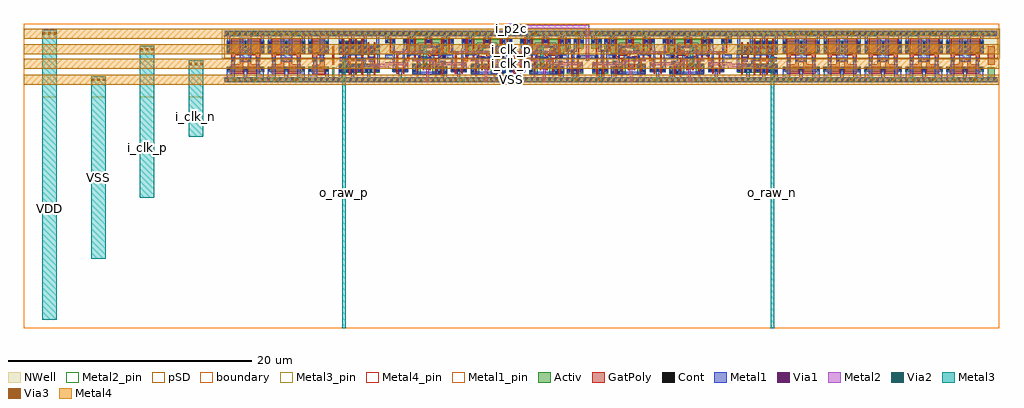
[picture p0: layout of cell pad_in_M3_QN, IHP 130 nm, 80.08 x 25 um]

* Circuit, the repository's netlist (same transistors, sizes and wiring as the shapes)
* pad_in_g5i2.sp -- reference LVS (et netlist de cellules pour le .lib) de la macro en cellules g5i2
* (run/g5i2/pad_in.gds, pad_in_g5i2.py), ecrite a la main. Livree en IP/1_PAD_IN/signoff/pad_in_lvs.sp.
* Le r_f dans la prise p : in, M(CLK_N), S(CLK_P), F(CLK_N), out ; prise n : in, M(CLK_P), S(CLK_N), out. 10 decap_8 (80 um).
* La cellule out (tlatch_g5i2_out) n'a pas de transistor : pure terminaison, absente de la reference.
* Sous-circuits : sg13cmos5l_decap_8 (PDK), srlatch_g5i2_abut et srlatch_g5i2_in (nemisys_5l/sg13_extracells/cell/*/char, commit e87b139).
* Dans abut (X8) et in (X2), une source PMOS est alimentee par la cellule voisine : reliee a VDD ici.

.subckt sg13cmos5l_decap_8 VDD VSS
MN0 VSS VDD VSS VSS sg13_lv_nmos w=840.00n l=1.000u ng=2 ad=1.596e-13 as=2.856e-13 pd=1.6e-06 ps=3.04e-06 m=1
MP0 VDD VSS VDD VDD sg13_lv_pmos w=2.000u l=1.000u ng=2 ad=3.8e-13 as=6.8e-13 pd=2.76e-06 ps=5.36e-06 m=1
.ends

.subckt srlatch_g5i2_abut LATCH DP DN QP QN VDD VSS
M0 a_94_436# DP VDD VDD sg13_lv_pmos ad=0.15015p pd=1.285u as=0.64332p ps=4.52u w=1.12u l=0.13u
M1 VDD DN a_370_600# VDD sg13_lv_pmos ad=0.64332p pd=4.52u as=0.15215p ps=1.3u w=1.14u l=0.13u
M2 VSS QPI QNI VSS sg13_lv_nmos ad=57f pd=0.68u as=0.12025p ps=1.23u w=0.3u l=0.13u
M3 QPI QNI VSS VSS sg13_lv_nmos ad=0.12025p pd=1.23u as=57f ps=0.68u w=0.3u l=0.13u
M4 VDD LATCH a_94_436# VDD sg13_lv_pmos ad=0.51465p pd=3.615u as=0.15015p ps=1.285u w=0.3u l=0.13u
M5 a_370_600# QNI QPI VDD sg13_lv_pmos ad=0.15215p pd=1.3u as=0.1731p ps=1.86u w=0.59u l=0.13u
M6 QN QPI VDD VDD sg13_lv_pmos ad=0.102p pd=1.28u as=0.64332p ps=4.52u w=0.3u l=0.13u
M7 a_370_600# LATCH VDD VDD sg13_lv_pmos ad=0.15215p pd=1.3u as=0.51465p ps=3.615u w=0.3u l=0.13u
M8 VDD QNI QP VDD sg13_lv_pmos ad=68.99999f pd=1.06u as=0.102p ps=1.28u w=0.3u l=0.13u
M9 QNI DP a_94_96# VSS sg13_lv_nmos ad=0.12025p pd=1.23u as=0.14995p ps=1.23u w=0.85u l=0.13u
M10 a_94_96# DN QPI VSS sg13_lv_nmos ad=0.289p pd=2.38u as=0.12025p ps=1.23u w=0.85u l=0.13u
M11 QNI QPI a_94_436# VDD sg13_lv_pmos ad=0.1663p pd=1.82u as=0.15015p ps=1.285u w=0.57u l=0.13u
M12 a_94_96# LATCH VSS VSS sg13_lv_nmos ad=0.14995p pd=1.23u as=0.2176p ps=1.96u w=0.64u l=0.13u
M13 VSS QPI QN VSS sg13_lv_nmos ad=57f pd=0.68u as=0.102p ps=1.28u w=0.3u l=0.13u
M14 QP QNI VSS VSS sg13_lv_nmos ad=0.102p pd=1.28u as=57f ps=0.68u w=0.3u l=0.13u
.ends

.subckt srlatch_g5i2_in VSS VDD A DN DP
M0 DN A VDD VDD sg13_lv_pmos ad=0.255p pd=2.18u as=0.9525p ps=6.74u w=0.75u l=0.13u
M1 VSS A DN VSS sg13_lv_nmos ad=91.2f pd=0.86u as=0.1632p ps=1.64u w=0.48u l=0.13u
M2 VDD DN DP VDD sg13_lv_pmos ad=0.1725p pd=1.96u as=0.255p ps=2.18u w=0.75u l=0.13u
M3 DP DN VSS VSS sg13_lv_nmos ad=0.1632p pd=1.64u as=91.2f ps=0.86u w=0.48u l=0.13u
.ends

.SUBCKT sg13cmos5l_buf_4 X A VDD VSS
*.PININFO A:I X:O VDD:B VSS:B
MN0 net1 A VSS VSS sg13_lv_nmos m=1 w=740.00n l=130.00n ng=1
MN1 X net1 VSS VSS sg13_lv_nmos m=1 w=2.96u l=130.00n ng=4
MP1 X net1 VDD VDD sg13_lv_pmos m=1 w=4.48u l=130.00n ng=4
MP0 net1 A VDD VDD sg13_lv_pmos m=1 w=1.68u l=130.00n ng=2
.ENDS
.SUBCKT sg13cmos5l_decap_4 VDD VSS
*.PININFO VDD:B VSS:B
MN0 VSS VDD VSS VSS sg13_lv_nmos m=1 w=420.00n l=1.000u ng=1
MP0 VDD VSS VDD VDD sg13_lv_pmos m=1 w=1.000u l=1.000u ng=1
.ENDS
.subckt pad_in_M3_QN i_p2c i_clk_p i_clk_n o_raw_p o_raw_n VDD VSS
* prise p (miroir, vers la gauche)
XINP VSS VDD i_p2c p2cn_p p2c_p srlatch_g5i2_in
XMCP i_clk_n p2c_p p2cn_p mcp_q mcp_qn VDD VSS srlatch_g5i2_abut
XSCP i_clk_p mcp_q mcp_qn scp_q scp_qn VDD VSS srlatch_g5i2_abut
XFCP i_clk_n scp_q scp_qn o_raw_pn raw_p VDD VSS srlatch_g5i2_abut
* prise n (vers la droite)
XINN VSS VDD i_p2c p2cn_n p2c_n srlatch_g5i2_in
XMCN i_clk_p p2c_n p2cn_n mcn_q mcn_qn VDD VSS srlatch_g5i2_abut
XSCN i_clk_n mcn_q mcn_qn o_raw_nn raw_n VDD VSS srlatch_g5i2_abut
* decouplage (31/10, macro de 80 um) : 2 decap_8 a gauche de la chaine, 8 a droite ; le fill_2 et la zone des doigts n'ont pas de transistor
XDC0 VDD VSS sg13cmos5l_decap_8
XDC1 VDD VSS sg13cmos5l_decap_8
XDC2 VDD VSS sg13cmos5l_decap_8
XDC3 VDD VSS sg13cmos5l_decap_8
XDC4 VDD VSS sg13cmos5l_decap_8
XDC5 VDD VSS sg13cmos5l_decap_8
XDC6 VDD VSS sg13cmos5l_decap_8
XDC7 VDD VSS sg13cmos5l_decap_4
* tampons de sortie (brouillon_pad_in, 06/11)
XBP o_raw_p raw_p VDD VSS sg13cmos5l_buf_4
XBN o_raw_n raw_n VDD VSS sg13cmos5l_buf_4
.ends pad_in_M3_QN

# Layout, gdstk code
from math import pi, radians
import gdstk
lib = gdstk.Library(unit=1e-6, precision=1e-09)
def R(c, l, rs):  # rectangles x0, y0, x1, y1
    for r in rs: c.add(gdstk.rectangle(r[:2], r[2:], *l))
def A(c, l, x, y, w, h, nx, ny, dx, dy):  # array of equal rectangles
    R(c, l, [(x+i*dx, y+j*dy, x+i*dx+w, y+j*dy+h) for i in range(nx) for j in range(ny)])
def P(c, l, *ps):  # polygons
    for p in ps: c.add(gdstk.Polygon(p, *l))
Activ = (1, 0)
GatPoly = (5, 0)
Cont = (6, 0)
Metal1 = (8, 0)
Metal1_pin = (8, 2)
Metal2 = (10, 0)
Metal2_pin = (10, 2)
pSD = (14, 0)
Via1 = (19, 0)
Via2 = (29, 0)
Metal3 = (30, 0)
Metal3_pin = (30, 2)
NWell = (31, 0)
Via3 = (49, 0)
Metal4 = (50, 0)
Metal4_pin = (50, 2)
boundary = (189, 4)

tlatch_g5i2_in = lib.new_cell('tlatch_g5i2_in')
R(tlatch_g5i2_in, Activ, [(0,-0.15,1.92,0.15), (0.37,0.48,1.69,0.96), (1.38,2.55,2.08,3.3)])
P(tlatch_g5i2_in, Activ, [(0.31,2.55),(0.31,3.63),(0,3.63),(0,3.93),(1.92,3.93),(1.92,3.63),(0.61,3.63),(0.61,3.3),(1.15,3.3),(1.15,2.55)])
P(tlatch_g5i2_in, GatPoly, [(0.71,0.3),(0.71,1.705),(0.57,1.705),(0.57,2.005),(0.68,2.005),(0.68,3.49),(0.81,3.49),(0.81,2.005),(0.87,2.005),(0.87,1.705),(0.84,1.705),(0.84,0.3)],
  [(1.22,0.3),(1.22,2.17),(1.07,2.17),(1.07,2.47),(1.72,2.47),(1.72,3.49),(1.85,3.49),(1.85,2.31),(1.37,2.31),(1.37,2.17),(1.35,2.17),(1.35,0.3)])
A(tlatch_g5i2_in, Cont, 0.16, -0.08, 0.16, 0.16, 4, 2, 0.48, 3.78)
A(tlatch_g5i2_in, Cont, 0.44, 0.73, 0.16, 0.16, 3, 1, 0.51, 0)
R(tlatch_g5i2_in, Cont, [(0.64,1.775,0.8,1.935), (1.14,2.24,1.3,2.4), (0.38,3.07,0.54,3.23), (0.92,3.07,1.08,3.23), (1.45,3.07,1.61,3.23)])
R(tlatch_g5i2_in, Metal1, [(0.57,1.705,0.87,2.005)])
P(tlatch_g5i2_in, Metal1, [(0,-0.22),(0,0.22),(0.9,0.22),(0.9,0.99),(1.16,0.99),(1.16,0.22),(1.92,0.22),(1.92,-0.22)],
  [(0.39,0.63),(0.39,1.42),(1.1,1.42),(1.1,2.17),(1.07,2.17),(1.07,2.29),(0.87,2.29),(0.87,3.3),(1.13,3.3),(1.13,2.47),(1.37,2.47),(1.37,2.17),(1.26,2.17),(1.26,1.22),(0.69,1.22),(0.69,1.12),(0.65,1.12),(0.65,0.63)],
  [(1.41,0.63),(1.41,1.06),(1.55,1.06),(1.55,2.92),(1.38,2.92),(1.38,3.3),(1.64,3.3),(1.64,3.07),(1.71,3.07),(1.71,2.04),(1.92,2.04),(1.92,1.74),(1.71,1.74),(1.71,0.95),(1.67,0.95),(1.67,0.63)],
  [(0.33,3.01),(0.33,3.56),(0,3.56),(0,4),(1.92,4),(1.92,3.56),(0.59,3.56),(0.59,3.01)])
P(tlatch_g5i2_in, Metal2, [(0.395,1.125),(0.395,1.415),(1.92,1.415),(1.92,1.195),(0.685,1.195),(0.685,1.125)])
R(tlatch_g5i2_in, pSD, [(-0.03,-0.18,1.96,0.18), (0,1.76,2.26,3.6)])
R(tlatch_g5i2_in, Via1, [(0.445,1.175,0.635,1.365)])
R(tlatch_g5i2_in, NWell, [(-0.24,1.75,2.39,4.17)])
R(tlatch_g5i2_in, boundary, [(0,0,1.92,3.78)])

tlatch_g5i2_abut = lib.new_cell('tlatch_g5i2_abut')
R(tlatch_g5i2_abut, Activ, [(0,-0.15,4.8,0.15), (3.18,0.66,4.5,0.96), (4.26,3,4.96,3.3)])
P(tlatch_g5i2_abut, Activ, [(0,0.48),(0,1.12),(0.58,1.12),(0.58,1.33),(1.21,1.33),(1.21,1.26),(2.15,1.26),(2.15,1.33),(2.85,1.33),(2.85,0.48),(2.15,0.48),(2.15,0.96),(1.21,0.96),(1.21,0.48)],
  [(1.82,2.16),(1.82,2.5),(1.93,2.5),(1.93,2.75),(2.36,2.75),(2.36,3),(0.7,3),(0.7,2.75),(1.13,2.75),(1.13,2.5),(1.24,2.5),(1.24,2.18),(0,2.18),(0,3.63),(0.26,3.63),(0.26,3.3),(1.42,3.3),(1.42,3.63),(1.64,3.63),(1.64,3.3),(2.8,3.3),(2.8,3.63),(0,3.63),(0,3.93),(4.8,3.93),(4.8,3.63),(3.06,3.63),(3.06,3.3),(3.6,3.3),(3.6,3),(3.06,3),(3.06,2.29),(2.95,2.29),(2.95,2.16)])
P(tlatch_g5i2_abut, GatPoly, [(3.52,0.48),(3.52,1.53),(3.13,1.53),(3.13,1.92),(3.02,1.92),(3.02,2.22),(3.13,2.22),(3.13,3.49),(3.26,3.49),(3.26,2.22),(3.32,2.22),(3.32,1.92),(3.26,1.92),(3.26,1.66),(3.65,1.66),(3.65,0.48)],
  [(4.03,0.48),(4.03,2.04),(3.83,2.04),(3.83,2.34),(4.6,2.34),(4.6,3.49),(4.73,3.49),(4.73,2.21),(4.16,2.21),(4.16,0.48)],
  [(0.34,0.3),(0.34,1.26),(0.13,1.26),(0.13,1.56),(0.43,1.56),(0.43,1.39),(0.47,1.39),(0.47,0.3)],
  [(1.36,0.78),(1.36,1.975),(0.77,1.975),(0.77,2.93),(0.9,2.93),(0.9,2.105),(1.38,2.105),(1.38,2.39),(1.68,2.39),(1.68,2.09),(1.58,2.09),(1.58,1.975),(1.49,1.975),(1.49,0.78)],
  [(1.87,0.78),(1.87,1.62),(1.76,1.62),(1.76,1.92),(1.96,1.92),(1.96,1.97),(2.16,1.97),(2.16,2.93),(2.29,2.93),(2.29,1.84),(2.09,1.84),(2.09,1.62),(2,1.62),(2,0.78)],
  [(0.85,0.3),(0.85,1.665),(0.61,1.665),(0.61,1.69),(0.57,1.69),(0.57,1.71),(0.53,1.71),(0.53,1.74),(0.1,1.74),(0.1,2.04),(0.34,2.04),(0.34,3.49),(0.47,3.49),(0.47,1.94),(0.57,1.94),(0.57,1.9),(0.6,1.9),(0.6,1.86),(0.63,1.86),(0.63,1.83),(0.66,1.83),(0.66,1.81),(0.69,1.81),(0.69,1.795),(0.98,1.795),(0.98,0.3)],
  [(1.38,2.57),(1.38,2.72),(1.21,2.72),(1.21,3.49),(1.34,3.49),(1.34,2.87),(1.72,2.87),(1.72,3.49),(1.85,3.49),(1.85,2.72),(1.68,2.72),(1.68,2.57)],
  [(2.38,0.3),(2.38,1.68),(2.56,1.68),(2.56,1.815),(2.59,1.815),(2.59,3.49),(2.72,3.49),(2.72,1.815),(2.86,1.815),(2.86,1.515),(2.51,1.515),(2.51,0.3)])
A(tlatch_g5i2_abut, Cont, 0.16, -0.08, 0.16, 0.16, 10, 2, 0.48, 3.78)
A(tlatch_g5i2_abut, Cont, 3.25, 0.73, 0.16, 0.16, 3, 1, 0.51, 0)
A(tlatch_g5i2_abut, Cont, 1.09, 1.03, 0.16, 0.16, 3, 1, 0.51, 0)
A(tlatch_g5i2_abut, Cont, 0.07, 3.07, 0.16, 0.16, 3, 1, 1.38, 0)
R(tlatch_g5i2_abut, Cont, [(0.07,0.55,0.23,0.71), (0.58,0.55,0.74,0.71), (2.62,0.61,2.78,0.77), (0.07,0.89,0.23,1.05), (0.58,0.89,0.74,1.05), (2.62,1.09,2.78,1.25), (0.2,1.33,0.36,1.49), (2.63,1.585,2.79,1.745), (1.83,1.69,1.99,1.85), (0.17,1.81,0.33,1.97), (3.09,1.99,3.25,2.15), (3.9,2.11,4.06,2.27), (1.45,2.16,1.61,2.32), (1.89,2.23,2.05,2.39), (1.01,2.25,1.17,2.41), (1.45,2.64,1.61,2.8), (0.07,2.73,0.23,2.89), (2.83,2.73,2.99,2.89), (3.37,3.07,3.53,3.23), (4.33,3.07,4.49,3.23)])
R(tlatch_g5i2_abut, Metal1, [(1.55,0.84,1.81,1.29), (2.56,1.515,2.86,1.815), (0,1.74,0.4,2.04), (3.83,2.04,4.13,2.34)])
P(tlatch_g5i2_abut, Metal1, [(0,-0.22),(0,0.22),(0.02,0.22),(0.02,1.1),(0.28,1.1),(0.28,0.22),(3.71,0.22),(3.71,0.99),(3.97,0.99),(3.97,0.22),(4.8,0.22),(4.8,-0.22)],
  [(0.51,0.45),(0.51,1.1),(0.81,1.1),(0.81,0.65),(2.57,0.65),(2.57,1.25),(2.83,1.25),(2.83,0.45)],
  [(2.11,0.95),(2.11,1.295),(2.22,1.295),(2.22,2.14),(1.66,2.14),(1.66,2.11),(1.4,2.11),(1.4,2.37),(1.66,2.37),(1.66,2.3),(1.84,2.3),(1.84,2.44),(2.38,2.44),(2.38,2.19),(3.04,2.19),(3.04,2.2),(3.3,2.2),(3.3,1.94),(3.04,1.94),(3.04,2.015),(2.38,2.015),(2.38,0.95)],
  [(1.09,0.95),(1.09,1.74),(1.06,1.74),(1.06,2.14),(0.92,2.14),(0.92,2.46),(1.22,2.46),(1.22,1.9),(2.04,1.9),(2.04,1.64),(1.78,1.64),(1.78,1.74),(1.25,1.74),(1.25,0.95)],
  [(0.15,1.28),(0.15,1.54),(0.58,1.54),(0.58,2.8),(1.38,2.8),(1.38,2.87),(1.68,2.87),(1.68,2.57),(1.38,2.57),(1.38,2.64),(0.74,2.64),(0.74,1.38),(0.41,1.38),(0.41,1.28)],
  [(3.2,0.63),(3.2,1.42),(3.48,1.42),(3.48,2.4),(3.32,2.4),(3.32,3.3),(3.58,3.3),(3.58,2.54),(3.64,2.54),(3.64,1.22),(3.5,1.22),(3.5,1.12),(3.46,1.12),(3.46,0.63)],
  [(4.22,0.63),(4.22,1.09),(4.32,1.09),(4.32,2.94),(4.26,2.94),(4.26,3.3),(4.52,3.3),(4.52,2.94),(4.48,2.94),(4.48,2.04),(4.8,2.04),(4.8,1.74),(4.48,1.74),(4.48,0.63)],
  [(0.02,2.73),(0.02,3.56),(0,3.56),(0,4),(4.8,4),(4.8,3.56),(3.04,3.56),(3.04,2.73),(2.78,2.73),(2.78,3.56),(1.66,3.56),(1.66,3.05),(1.4,3.05),(1.4,3.56),(0.28,3.56),(0.28,2.73)])
R(tlatch_g5i2_abut, Metal2, [(1.385,2.575,2.25,2.865)])
P(tlatch_g5i2_abut, Metal2, [(1.53,-0.15),(1.53,1.245),(1.83,1.245),(1.83,0.96),(1.73,0.96),(1.73,0.15),(1.83,0.15),(1.83,-0.15)],
  [(3.205,1.125),(3.205,1.415),(4.8,1.415),(4.8,1.195),(3.495,1.195),(3.495,1.125)],
  [(0,1.195),(0,1.415),(1.01,1.415),(1.01,1.72),(2.565,1.72),(2.565,1.81),(2.855,1.81),(2.855,1.52),(1.23,1.52),(1.23,1.195)],
  [(3.83,2.04),(3.83,2.14),(0.92,2.14),(0.92,2.44),(1.22,2.44),(1.22,2.34),(4.13,2.34),(4.13,2.04)])
R(tlatch_g5i2_abut, pSD, [(-0.18,-0.18,5.14,0.18), (-0.18,1.76,5.14,3.6)])
R(tlatch_g5i2_abut, Via1, [(1.585,-0.095,1.775,0.095), (1.585,1.005,1.775,1.195), (3.255,1.175,3.445,1.365), (2.615,1.57,2.805,1.76), (3.885,2.095,4.075,2.285), (0.97,2.195,1.16,2.385), (1.435,2.625,1.625,2.815)])
R(tlatch_g5i2_abut, NWell, [(-0.32,1.75,5.27,4.17)])
R(tlatch_g5i2_abut, boundary, [(0,0,4.8,3.78)])

tlatch_g5i2_out = lib.new_cell('tlatch_g5i2_out')
R(tlatch_g5i2_out, Activ, [(0,-0.15,0.48,0.15)])
P(tlatch_g5i2_out, Activ, [(0,3),(0,3.93),(0.48,3.93),(0.48,3.63),(0.3,3.63),(0.3,3)])
R(tlatch_g5i2_out, Cont, [(0.16,-0.08,0.32,0.08), (0.07,3.07,0.23,3.23), (0.16,3.7,0.32,3.86)])
R(tlatch_g5i2_out, Metal1, [(0,-0.22,0.48,0.22), (0,1.74,0.3,2.04)])
P(tlatch_g5i2_out, Metal1, [(0.02,3),(0.02,3.56),(0,3.56),(0,4),(0.48,4),(0.48,3.56),(0.28,3.56),(0.28,3)])
R(tlatch_g5i2_out, Metal2, [(0,0.92,0.3,1.415)])
R(tlatch_g5i2_out, pSD, [(-0.18,-0.18,0.66,0.18), (-0.18,1.76,0.66,3.6)])
R(tlatch_g5i2_out, NWell, [(-0.32,1.75,0.8,4.17)])
R(tlatch_g5i2_out, boundary, [(0,0,0.48,3.78)])

sg13cmos5l_decap_8 = lib.new_cell('sg13cmos5l_decap_8')
R(sg13cmos5l_decap_8, Activ, [(0,-0.15,3.36,0.15), (0.155,0.65,3.215,1.07), (0.165,2.185,3.225,3.185), (0,3.63,3.36,3.93)])
P(sg13cmos5l_decap_8, GatPoly, [(0.505,1.48),(0.505,3.365),(1.505,3.365),(1.505,2.005),(0.835,2.005),(0.835,1.48)],
  [(2.555,1.48),(2.555,2.005),(1.885,2.005),(1.885,3.365),(2.885,3.365),(2.885,1.48)],
  [(0.495,0.47),(0.495,1.25),(1.22,1.25),(1.22,1.805),(2.155,1.805),(2.155,1.25),(2.875,1.25),(2.875,0.47),(1.875,0.47),(1.875,1.415),(1.495,1.415),(1.495,0.47)])
A(sg13cmos5l_decap_8, Cont, 0.16, -0.08, 0.16, 0.16, 7, 2, 0.48, 3.78)
A(sg13cmos5l_decap_8, Cont, 0.225, 0.78, 0.16, 0.16, 3, 1, 1.38, 0)
A(sg13cmos5l_decap_8, Cont, 0.235, 2.275, 0.16, 0.16, 3, 3, 1.38, 0.34)
R(sg13cmos5l_decap_8, Cont, [(1.3,1.555,1.46,1.715), (1.905,1.555,2.065,1.715), (0.59,1.56,0.75,1.72), (2.63,1.56,2.79,1.72)])
P(sg13cmos5l_decap_8, Metal1, [(1.22,1.475),(1.22,3.56),(0.445,3.56),(0.445,2.205),(0.185,2.205),(0.185,3.56),(0,3.56),(0,4),(3.36,4),(3.36,3.56),(3.205,3.56),(3.205,2.21),(2.945,2.21),(2.945,3.56),(2.155,3.56),(2.155,1.475)],
  [(0,-0.22),(0,0.22),(0.175,0.22),(0.175,0.99),(0.52,0.99),(0.52,1.81),(0.81,1.81),(0.81,0.22),(1.53,0.22),(1.53,1.03),(1.835,1.03),(1.835,0.22),(2.585,0.22),(2.585,1.81),(2.835,1.81),(2.835,0.99),(3.195,0.99),(3.195,0.22),(3.36,0.22),(3.36,-0.22)])
R(sg13cmos5l_decap_8, Metal1_pin, [(0,-0.22,3.36,0.22), (0,3.56,3.36,4)])
R(sg13cmos5l_decap_8, pSD, [(-0.07,-0.18,3.43,0.18), (-0.07,1.76,3.43,3.6)])
R(sg13cmos5l_decap_8, NWell, [(-0.24,1.75,3.6,4.17)])
R(sg13cmos5l_decap_8, boundary, [(0,0,3.36,3.78)])
sg13cmos5l_decap_8.add(gdstk.Label('VSS', (1.68,0), layer=8, texttype=25))
sg13cmos5l_decap_8.add(gdstk.Label('VDD', (1.68,3.78), layer=8, texttype=25))

sg13cmos5l_fill_2 = lib.new_cell('sg13cmos5l_fill_2')
R(sg13cmos5l_fill_2, Activ, [(0,-0.15,0.96,0.15), (0.2,0.15,0.76,1.03), (0,3.63,0.96,3.93)])
R(sg13cmos5l_fill_2, GatPoly, [(0.2,1.23,0.76,2.75)])
R(sg13cmos5l_fill_2, Cont, [(0.16,-0.08,0.32,0.08), (0.16,-0.08,0.32,0.08), (0.64,-0.08,0.8,0.08), (0.64,-0.08,0.8,0.08), (0.16,3.7,0.32,3.86), (0.16,3.7,0.32,3.86), (0.64,3.7,0.8,3.86), (0.64,3.7,0.8,3.86)])
R(sg13cmos5l_fill_2, Metal1, [(0,-0.22,0.96,0.22), (0,3.56,0.96,4)])
R(sg13cmos5l_fill_2, Metal1_pin, [(0,-0.22,0.96,0.22), (0,3.56,0.96,4)])
R(sg13cmos5l_fill_2, pSD, [(-0.07,-0.18,1.03,0.18), (-0.07,1.76,1.03,3.6)])
R(sg13cmos5l_fill_2, NWell, [(-0.24,1.75,1.2,4.17)])
R(sg13cmos5l_fill_2, boundary, [(0,0,0.96,3.78)])
sg13cmos5l_fill_2.add(gdstk.Label('VDD', (0.495,3.78), layer=8, texttype=25))
sg13cmos5l_fill_2.add(gdstk.Label('VSS', (0.49,0), layer=8, texttype=25))

sg13cmos5l_buf_4 = lib.new_cell('sg13cmos5l_buf_4')
R(sg13cmos5l_buf_4, Activ, [(0,-0.15,3.84,0.15), (0.215,0.59,3.575,1.33), (0,3.63,3.84,3.93)])
P(sg13cmos5l_buf_4, Activ, [(0.215,2.06),(0.215,3.18),(2.525,3.18),(2.525,2.9),(3.575,2.9),(3.575,2.06)])
P(sg13cmos5l_buf_4, GatPoly, [(3.105,0.41),(3.105,1.57),(2.82,1.57),(2.82,1.75),(2.595,1.75),(2.595,3.08),(2.725,3.08),(2.725,1.9),(3.105,1.9),(3.105,3.08),(3.235,3.08),(3.235,0.41)],
  [(0.555,0.41),(0.555,3.36),(0.685,3.36),(0.685,1.67),(1.065,1.67),(1.065,3.36),(1.195,3.36),(1.195,1.67),(1.575,1.67),(1.575,3.36),(1.705,3.36),(1.705,1.82),(2.085,1.82),(2.085,3.36),(2.215,3.36),(2.215,1.82),(2.3,1.82),(2.3,1.52),(2.215,1.52),(2.215,0.41),(2.085,0.41),(2.085,1.52),(1.705,1.52),(1.705,0.41),(1.575,0.41),(1.575,1.52),(1.195,1.52),(1.195,0.41),(1.065,0.41),(1.065,1.52),(0.685,1.52),(0.685,0.41)])
A(sg13cmos5l_buf_4, Cont, 0.285, 0.66, 0.16, 0.16, 4, 2, 0.51, 2.29)
A(sg13cmos5l_buf_4, Cont, 0.285, 2.54, 0.16, 0.16, 6, 1, 0.51, 0)
R(sg13cmos5l_buf_4, Cont, [(0.16,-0.08,0.32,0.08), (0.16,-0.08,0.32,0.08), (0.64,-0.08,0.8,0.08), (0.64,-0.08,0.8,0.08), (1.12,-0.08,1.28,0.08), (1.12,-0.08,1.28,0.08), (1.6,-0.08,1.76,0.08), (1.6,-0.08,1.76,0.08), (2.08,-0.08,2.24,0.08), (2.08,-0.08,2.24,0.08), (2.56,-0.08,2.72,0.08), (2.56,-0.08,2.72,0.08), (3.04,-0.08,3.2,0.08), (3.04,-0.08,3.2,0.08), (3.52,-0.08,3.68,0.08), (3.52,-0.08,3.68,0.08), (2.425,0.66,2.585,0.82), (2.765,0.66,2.925,0.82), (3.345,0.66,3.505,0.82), (0.285,1,0.445,1.16), (0.795,1,0.955,1.16), (1.815,1,1.975,1.16), (3.345,1,3.505,1.16), (1.73,1.59,1.89,1.75), (2.07,1.59,2.23,1.75), (2.905,1.655,3.065,1.815), (0.285,2.13,0.445,2.29), (0.795,2.13,0.955,2.29), (1.815,2.13,1.975,2.29), (2.325,2.13,2.485,2.29), (2.835,2.2,2.995,2.36), (3.345,2.67,3.505,2.83), (0.16,3.7,0.32,3.86), (0.16,3.7,0.32,3.86), (0.64,3.7,0.8,3.86), (0.64,3.7,0.8,3.86), (1.12,3.7,1.28,3.86), (1.12,3.7,1.28,3.86), (1.6,3.7,1.76,3.86), (1.6,3.7,1.76,3.86), (2.08,3.7,2.24,3.86), (2.08,3.7,2.24,3.86), (2.56,3.7,2.72,3.86), (2.56,3.7,2.72,3.86), (3.04,3.7,3.2,3.86), (3.04,3.7,3.2,3.86), (3.52,3.7,3.68,3.86), (3.52,3.7,3.68,3.86)])
R(sg13cmos5l_buf_4, Metal1, [(2.7,1.475,3.15,1.885)])
P(sg13cmos5l_buf_4, Metal1, [(0.745,0.605),(0.745,1.525),(0.32,1.525),(0.32,1.84),(0.745,1.84),(0.745,3.13),(1.005,3.13),(1.005,2.165),(1.765,2.165),(1.765,3.13),(2.025,3.13),(2.025,1.995),(1.005,1.995),(1.005,1.225),(2.025,1.225),(2.025,0.645),(1.765,0.645),(1.765,1.065),(1.005,1.065),(1.005,0.605)],
  [(3.245,0.64),(3.245,1.05),(2.265,1.05),(2.265,1.54),(1.68,1.54),(1.68,1.8),(2.43,1.8),(2.43,1.21),(3.4,1.21),(3.4,2.15),(2.785,2.15),(2.785,2.77),(3.045,2.77),(3.045,2.42),(3.59,2.42),(3.59,0.64)],
  [(2.275,2.08),(2.275,3.56),(1.515,3.56),(1.515,2.49),(1.255,2.49),(1.255,3.56),(0.495,3.56),(0.495,2.115),(0.235,2.115),(0.235,3.56),(0,3.56),(0,4),(3.84,4),(3.84,3.56),(3.555,3.56),(3.555,2.64),(3.295,2.64),(3.295,3.56),(2.535,3.56),(2.535,2.08)],
  [(0,-0.22),(0,0.22),(0.235,0.22),(0.235,1.21),(0.495,1.21),(0.495,0.22),(1.255,0.22),(1.255,0.87),(1.515,0.87),(1.515,0.22),(2.545,0.22),(2.545,0.61),(2.375,0.61),(2.375,0.87),(2.975,0.87),(2.975,0.61),(2.805,0.61),(2.805,0.22),(3.84,0.22),(3.84,-0.22)])
R(sg13cmos5l_buf_4, pSD, [(-0.07,-0.18,3.91,0.18), (-0.07,1.76,3.91,3.6)])
R(sg13cmos5l_buf_4, NWell, [(-0.24,1.75,4.08,4.17)])
R(sg13cmos5l_buf_4, boundary, [(0,0,3.84,3.78)])

sg13cmos5l_decap_4_4 = lib.new_cell('sg13cmos5l_decap_4$4')
R(sg13cmos5l_decap_4_4, Activ, [(0,-0.15,1.92,0.15), (0.12,0.645,1.8,1.065), (0.12,2.18,1.8,3.18), (0,3.63,1.92,3.93)])
P(sg13cmos5l_decap_4_4, GatPoly, [(0.46,1.475),(0.46,3.36),(1.46,3.36),(1.46,2),(0.855,2),(0.855,1.475)],
  [(0.46,0.465),(0.46,1.245),(1.065,1.245),(1.065,1.8),(1.46,1.8),(1.46,0.465)])
A(sg13cmos5l_decap_4_4, Cont, 0.16, -0.08, 0.16, 0.16, 4, 2, 0.48, 3.78)
A(sg13cmos5l_decap_4_4, Cont, 0.19, 2.27, 0.16, 0.16, 1, 3, 0, 0.34)
A(sg13cmos5l_decap_4_4, Cont, 1.57, 2.27, 0.16, 0.16, 1, 3, 0, 0.34)
R(sg13cmos5l_decap_4_4, Cont, [(0.19,0.72,0.35,0.88), (1.57,0.72,1.73,0.88), (1.15,1.555,1.31,1.715), (0.61,1.56,0.77,1.72)])
P(sg13cmos5l_decap_4_4, Metal1, [(0,-0.22),(0,0.22),(0.13,0.22),(0.13,0.935),(0.53,0.935),(0.53,1.805),(0.855,1.805),(0.855,0.22),(1.51,0.22),(1.51,0.935),(1.79,0.935),(1.79,0.22),(1.92,0.22),(1.92,-0.22)],
  [(1.065,1.47),(1.065,3.56),(0.4,3.56),(0.4,2.22),(0.13,2.22),(0.13,3.56),(0,3.56),(0,4),(1.92,4),(1.92,3.56),(1.79,3.56),(1.79,2.22),(1.405,2.22),(1.405,1.47)])
R(sg13cmos5l_decap_4_4, pSD, [(-0.07,-0.18,1.99,0.18), (-0.16,1.76,1.99,3.6)])
R(sg13cmos5l_decap_4_4, NWell, [(-0.24,1.75,2.16,4.17)])
R(sg13cmos5l_decap_4_4, boundary, [(0,0,1.92,3.78)])

sg13cmos5l_fill_1_5 = lib.new_cell('sg13cmos5l_fill_1$5')
R(sg13cmos5l_fill_1_5, Activ, [(0,-0.15,0.48,0.15), (0.16,0.15,0.32,1.03), (0,3.63,0.48,3.93)])
R(sg13cmos5l_fill_1_5, GatPoly, [(0.16,1.23,0.32,2.75)])
R(sg13cmos5l_fill_1_5, Cont, [(0.16,-0.08,0.32,0.08), (0.16,-0.08,0.32,0.08), (0.16,3.7,0.32,3.86), (0.16,3.7,0.32,3.86)])
R(sg13cmos5l_fill_1_5, Metal1, [(0,-0.22,0.48,0.22), (0,3.56,0.48,4)])
R(sg13cmos5l_fill_1_5, pSD, [(-0.07,-0.18,0.55,0.18), (-0.07,1.76,0.55,3.6)])
R(sg13cmos5l_fill_1_5, NWell, [(-0.24,1.75,0.72,4.17)])
R(sg13cmos5l_fill_1_5, boundary, [(0,0,0.48,3.78)])

pad_in_m3_qn = lib.new_cell('pad_in_M3_QN')
R(pad_in_m3_qn, Metal1, [(45.37,22.105,47.11,22.405)])
A(pad_in_m3_qn, Metal2, 30.925, 20.205, 0.39, 0.39, 3, 1, 4.8, 0)
A(pad_in_m3_qn, Metal2, 32.125, 23.985, 0.39, 0.39, 3, 1, 4.8, 0)
R(pad_in_m3_qn, Metal2, [(17.085,20.205,17.475,20.595), (18.785,20.205,19.175,20.595), (20.445,20.205,20.835,20.595), (22.145,20.205,22.535,20.595), (45.085,20.205,45.475,20.595), (47.005,20.205,47.395,20.595), (51.565,20.205,51.955,20.595), (56.365,20.205,56.755,20.595), (62.685,20.205,63.075,20.595), (64.385,20.205,64.775,20.595), (66.045,20.205,66.435,20.595), (67.745,20.205,68.135,20.595), (69.405,20.205,69.795,20.595), (71.105,20.205,71.495,20.595), (72.765,20.205,73.155,20.595), (74.465,20.205,74.855,20.595), (76.125,20.205,76.515,20.595), (77.825,20.205,78.215,20.595), (28.425,21.42,29.87,21.72), (28.425,21.42,28.625,22.225), (57.81,21.42,59.255,21.72), (59.055,21.42,59.255,22.225), (26.065,21.885,26.455,22.275), (61.225,21.885,61.615,22.275), (46.09,21.955,46.39,24.9), (17.085,23.985,17.475,24.375), (18.785,23.985,19.175,24.375), (20.445,23.985,20.835,24.375), (22.145,23.985,22.535,24.375), (45.085,23.985,45.475,24.375), (47.005,23.985,47.395,24.375), (50.365,23.985,50.755,24.375), (55.165,23.985,55.555,24.375), (62.685,23.985,63.075,24.375), (64.385,23.985,64.775,24.375), (66.045,23.985,66.435,24.375), (67.745,23.985,68.135,24.375), (69.405,23.985,69.795,24.375), (71.105,23.985,71.495,24.375), (72.765,23.985,73.155,24.375), (74.465,23.985,74.855,24.375), (76.125,23.985,76.515,24.375), (77.825,23.985,78.215,24.375), (39.725,24.2,40.41,25), (39.85,24.2,40.15,25), (39.85,24.6,46.39,24.9)])
R(pad_in_m3_qn, Metal2_pin, [(39.725,24.2,40.225,25)])
A(pad_in_m3_qn, Via1, 31.025, 20.305, 0.19, 0.19, 3, 1, 4.8, 0)
A(pad_in_m3_qn, Via1, 32.225, 24.085, 0.19, 0.19, 3, 1, 4.8, 0)
R(pad_in_m3_qn, Via1, [(17.185,20.305,17.375,20.495), (18.885,20.305,19.075,20.495), (20.545,20.305,20.735,20.495), (22.245,20.305,22.435,20.495), (45.185,20.305,45.375,20.495), (47.105,20.305,47.295,20.495), (51.665,20.305,51.855,20.495), (56.465,20.305,56.655,20.495), (62.785,20.305,62.975,20.495), (64.485,20.305,64.675,20.495), (66.145,20.305,66.335,20.495), (67.845,20.305,68.035,20.495), (69.505,20.305,69.695,20.495), (71.205,20.305,71.395,20.495), (72.865,20.305,73.055,20.495), (74.565,20.305,74.755,20.495), (76.225,20.305,76.415,20.495), (77.925,20.305,78.115,20.495), (26.165,21.985,26.355,22.175), (28.43,21.985,28.62,22.175), (59.06,21.985,59.25,22.175), (61.325,21.985,61.515,22.175), (46.145,22.16,46.335,22.35), (17.185,24.085,17.375,24.275), (18.885,24.085,19.075,24.275), (20.545,24.085,20.735,24.275), (22.245,24.085,22.435,24.275), (45.185,24.085,45.375,24.275), (47.105,24.085,47.295,24.275), (50.465,24.085,50.655,24.275), (55.265,24.085,55.455,24.275), (62.785,24.085,62.975,24.275), (64.485,24.085,64.675,24.275), (66.145,24.085,66.335,24.275), (67.845,24.085,68.035,24.275), (69.505,24.085,69.695,24.275), (71.205,24.085,71.395,24.275), (72.865,24.085,73.055,24.275), (74.565,24.085,74.755,24.275), (76.225,24.085,76.415,24.275), (77.925,24.085,78.115,24.275)])
A(pad_in_m3_qn, Via2, 31.025, 20.305, 0.19, 0.19, 3, 1, 4.8, 0)
A(pad_in_m3_qn, Via2, 32.805, 23.025, 0.19, 0.19, 3, 1, 4.8, 0)
A(pad_in_m3_qn, Via2, 32.225, 24.085, 0.19, 0.19, 3, 1, 4.8, 0)
R(pad_in_m3_qn, Via2, [(17.185,20.305,17.375,20.495), (18.885,20.305,19.075,20.495), (20.545,20.305,20.735,20.495), (22.245,20.305,22.435,20.495), (45.185,20.305,45.375,20.495), (47.105,20.305,47.295,20.495), (51.665,20.305,51.855,20.495), (56.465,20.305,56.655,20.495), (62.785,20.305,62.975,20.495), (64.485,20.305,64.675,20.495), (66.145,20.305,66.335,20.495), (67.845,20.305,68.035,20.495), (69.505,20.305,69.695,20.495), (71.205,20.305,71.395,20.495), (72.865,20.305,73.055,20.495), (74.565,20.305,74.755,20.495), (76.225,20.305,76.415,20.495), (77.925,20.305,78.115,20.495), (26.165,21.985,26.355,22.175), (61.325,21.985,61.515,22.175), (49.885,23.025,50.075,23.215), (54.685,23.025,54.875,23.215), (17.185,24.085,17.375,24.275), (18.885,24.085,19.075,24.275), (20.545,24.085,20.735,24.275), (22.245,24.085,22.435,24.275), (45.185,24.085,45.375,24.275), (47.105,24.085,47.295,24.275), (50.465,24.085,50.655,24.275), (55.265,24.085,55.455,24.275), (62.785,24.085,62.975,24.275), (64.485,24.085,64.675,24.275), (66.145,24.085,66.335,24.275), (67.845,24.085,68.035,24.275), (69.505,24.085,69.695,24.275), (71.205,24.085,71.395,24.275), (72.865,24.085,73.055,24.275), (74.565,24.085,74.755,24.275), (76.225,24.085,76.415,24.275), (77.925,24.085,78.115,24.275)])
A(pad_in_m3_qn, Metal3, 30.925, 20.205, 0.39, 0.39, 3, 1, 4.8, 0)
A(pad_in_m3_qn, Metal3, 32.125, 23.985, 0.39, 0.39, 3, 1, 4.8, 0)
R(pad_in_m3_qn, Metal3, [(26.11,0,26.41,22.275), (61.27,0,61.57,22.275), (1.5,0.7,2.7,24.48), (5.5,5.7,6.7,20.7), (9.5,10.7,10.7,23.2), (13.5,15.7,14.7,22), (1.5,19.1,2.7,24.48), (9.5,19.1,10.7,23.2), (13.5,19.1,14.7,22), (17.085,20.205,17.475,20.595), (18.785,20.205,19.175,20.595), (20.445,20.205,20.835,20.595), (22.145,20.205,22.535,20.595), (45.085,20.205,45.475,20.595), (47.005,20.205,47.395,20.595), (51.565,20.205,51.955,20.595), (56.365,20.205,56.755,20.595), (62.685,20.205,63.075,20.595), (64.385,20.205,64.775,20.595), (66.045,20.205,66.435,20.595), (67.745,20.205,68.135,20.595), (69.405,20.205,69.795,20.595), (71.105,20.205,71.495,20.595), (72.765,20.205,73.155,20.595), (74.465,20.205,74.855,20.595), (76.125,20.205,76.515,20.595), (77.825,20.205,78.215,20.595), (32.705,21.505,33.095,21.895), (32.75,21.505,33.05,23.315), (42.305,21.505,42.695,21.895), (42.35,21.505,42.65,23.315), (54.585,21.505,54.975,21.895), (54.63,21.505,54.93,23.315), (37.505,22.925,37.895,23.315), (49.785,22.925,50.175,23.315), (17.085,23.985,17.475,24.375), (18.785,23.985,19.175,24.375), (20.445,23.985,20.835,24.375), (22.145,23.985,22.535,24.375), (45.085,23.985,45.475,24.375), (47.005,23.985,47.395,24.375), (50.365,23.985,50.755,24.375), (55.165,23.985,55.555,24.375), (62.685,23.985,63.075,24.375), (64.385,23.985,64.775,24.375), (66.045,23.985,66.435,24.375), (67.745,23.985,68.135,24.375), (69.405,23.985,69.795,24.375), (71.105,23.985,71.495,24.375), (72.765,23.985,73.155,24.375), (74.465,23.985,74.855,24.375), (76.125,23.985,76.515,24.375), (77.825,23.985,78.215,24.375)])
R(pad_in_m3_qn, Metal3_pin, [(26.11,0,26.41,22.275), (61.27,0,61.57,22.275), (1.5,0.7,2.7,19), (5.5,5.7,6.7,19), (9.5,10.7,10.7,19), (13.5,15.7,14.7,19)])
A(pad_in_m3_qn, Via3, 5.555, 20.305, 0.19, 0.19, 3, 1, 0.45, 0)
A(pad_in_m3_qn, Via3, 31.025, 20.305, 0.19, 0.19, 3, 1, 4.8, 0)
A(pad_in_m3_qn, Via3, 13.555, 21.605, 0.19, 0.19, 3, 1, 0.45, 0)
A(pad_in_m3_qn, Via3, 9.555, 22.805, 0.19, 0.19, 3, 1, 0.45, 0)
A(pad_in_m3_qn, Via3, 1.555, 24.085, 0.19, 0.19, 3, 1, 0.45, 0)
A(pad_in_m3_qn, Via3, 32.225, 24.085, 0.19, 0.19, 3, 1, 4.8, 0)
R(pad_in_m3_qn, Via3, [(17.185,20.305,17.375,20.495), (18.885,20.305,19.075,20.495), (20.545,20.305,20.735,20.495), (22.245,20.305,22.435,20.495), (45.185,20.305,45.375,20.495), (47.105,20.305,47.295,20.495), (51.665,20.305,51.855,20.495), (56.465,20.305,56.655,20.495), (62.785,20.305,62.975,20.495), (64.485,20.305,64.675,20.495), (66.145,20.305,66.335,20.495), (67.845,20.305,68.035,20.495), (69.505,20.305,69.695,20.495), (71.205,20.305,71.395,20.495), (72.865,20.305,73.055,20.495), (74.565,20.305,74.755,20.495), (76.225,20.305,76.415,20.495), (77.925,20.305,78.115,20.495), (32.805,21.605,32.995,21.795), (42.405,21.605,42.595,21.795), (54.685,21.605,54.875,21.795), (37.605,23.025,37.795,23.215), (49.885,23.025,50.075,23.215), (17.185,24.085,17.375,24.275), (18.885,24.085,19.075,24.275), (20.545,24.085,20.735,24.275), (22.245,24.085,22.435,24.275), (45.185,24.085,45.375,24.275), (47.105,24.085,47.295,24.275), (50.465,24.085,50.655,24.275), (55.265,24.085,55.455,24.275), (62.785,24.085,62.975,24.275), (64.485,24.085,64.675,24.275), (66.145,24.085,66.335,24.275), (67.845,24.085,68.035,24.275), (69.505,24.085,69.695,24.275), (71.205,24.085,71.395,24.275), (72.865,24.085,73.055,24.275), (74.565,24.085,74.755,24.275), (76.225,24.085,76.415,24.275), (77.925,24.085,78.115,24.275)])
R(pad_in_m3_qn, Metal4, [(0,20,80,20.8), (0,21.3,80,22.1), (0,22.5,80,23.3), (0,23.78,80,24.58)])
R(pad_in_m3_qn, Metal4_pin, [(0,20,80,20.8), (0,21.3,80,22.1), (0,22.5,80,23.3), (0,23.78,80,24.58)])
R(pad_in_m3_qn, boundary, [(0,0,80,25)])
pad_in_m3_qn.add(gdstk.Reference(tlatch_g5i2_in, (46.24,20.4)))
pad_in_m3_qn.add(gdstk.Reference(tlatch_g5i2_in, (46.24,20.4), rotation=pi, x_reflection=True))
pad_in_m3_qn.add(gdstk.Reference(tlatch_g5i2_abut, (52.96,20.4)))
pad_in_m3_qn.add(gdstk.Reference(tlatch_g5i2_abut, (48.16,20.4)))
pad_in_m3_qn.add(gdstk.Reference(tlatch_g5i2_abut, (34.72,20.4), rotation=pi, x_reflection=True))
pad_in_m3_qn.add(gdstk.Reference(tlatch_g5i2_abut, (39.52,20.4), rotation=pi, x_reflection=True))
pad_in_m3_qn.add(gdstk.Reference(tlatch_g5i2_abut, (44.32,20.4), rotation=pi, x_reflection=True))
pad_in_m3_qn.add(gdstk.Reference(tlatch_g5i2_out, (57.76,20.4)))
pad_in_m3_qn.add(gdstk.Reference(tlatch_g5i2_out, (29.92,20.4), rotation=pi, x_reflection=True))
pad_in_m3_qn.add(gdstk.Reference(sg13cmos5l_decap_8, (62.08,20.4)))
pad_in_m3_qn.add(gdstk.Reference(sg13cmos5l_decap_8, (19.84,20.4)))
pad_in_m3_qn.add(gdstk.Reference(sg13cmos5l_decap_8, (65.44,20.4)))
pad_in_m3_qn.add(gdstk.Reference(sg13cmos5l_decap_8, (68.8,20.4)))
pad_in_m3_qn.add(gdstk.Reference(sg13cmos5l_decap_8, (72.16,20.4)))
pad_in_m3_qn.add(gdstk.Reference(sg13cmos5l_decap_8, (75.52,20.4)))
pad_in_m3_qn.add(gdstk.Reference(sg13cmos5l_decap_8, (16.48,20.4)))
pad_in_m3_qn.add(gdstk.Reference(sg13cmos5l_fill_2, (78.88,20.4)))
pad_in_m3_qn.add(gdstk.Reference(sg13cmos5l_buf_4, (25.6,20.4)))
pad_in_m3_qn.add(gdstk.Reference(sg13cmos5l_buf_4, (62.08,20.4), rotation=pi, x_reflection=True))
pad_in_m3_qn.add(gdstk.Reference(sg13cmos5l_decap_4_4, (23.2,20.4)))
pad_in_m3_qn.add(gdstk.Reference(sg13cmos5l_fill_1_5, (25.12,20.4)))
pad_in_m3_qn.add(gdstk.Label('i_p2c', (40,24.6), layer=10, texttype=25))
pad_in_m3_qn.add(gdstk.Label('VSS', (40,20.4), layer=50, texttype=25))
pad_in_m3_qn.add(gdstk.Label('i_clk_n', (40,21.7), layer=50, texttype=25))
pad_in_m3_qn.add(gdstk.Label('i_clk_p', (40,22.9), layer=50, texttype=25))
pad_in_m3_qn.add(gdstk.Label('VDD', (40,24.18), layer=50, texttype=25))
pad_in_m3_qn.add(gdstk.Label('VDD', (2.1,9.85), layer=30, texttype=25))
pad_in_m3_qn.add(gdstk.Label('VSS', (6.1,12.35), layer=30, texttype=25))
pad_in_m3_qn.add(gdstk.Label('i_clk_p', (10.1,14.85), layer=30, texttype=25))
pad_in_m3_qn.add(gdstk.Label('i_clk_n', (14.1,17.35), layer=30, texttype=25))
pad_in_m3_qn.add(gdstk.Label('o_raw_p', (26.26,11.138), layer=30, texttype=25))
pad_in_m3_qn.add(gdstk.Label('o_raw_n', (61.42,11.138), layer=30, texttype=25))

lib.write_gds('pad_in_M3_QN.gds')
